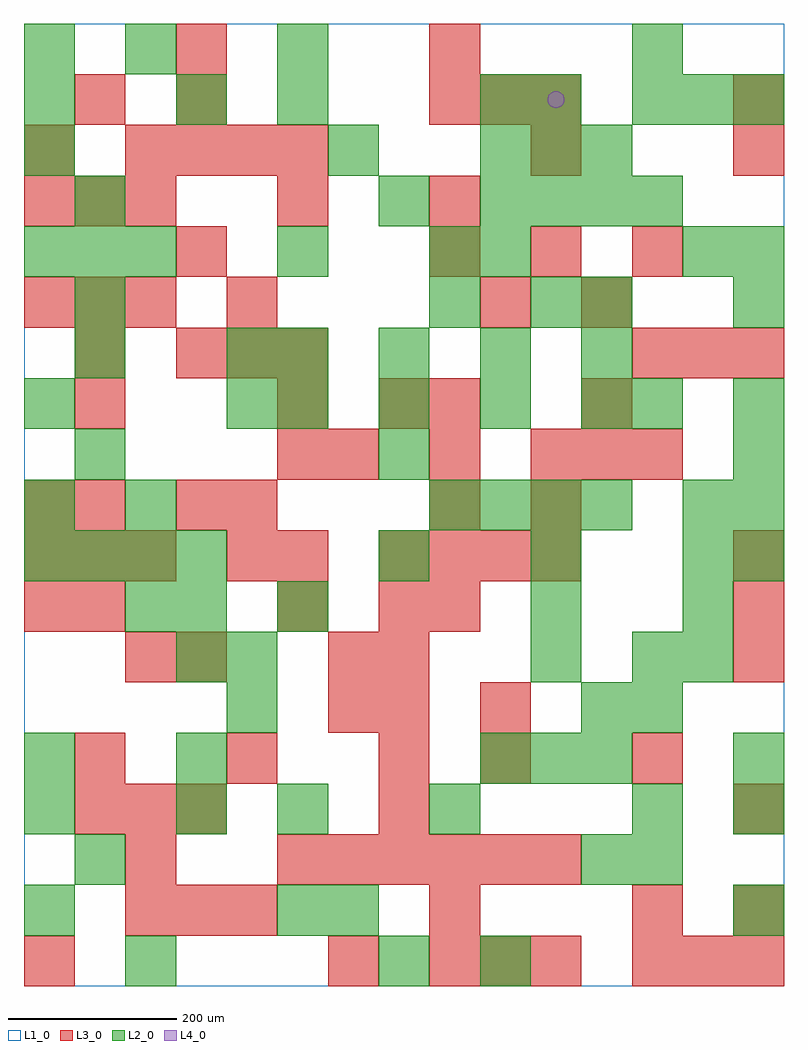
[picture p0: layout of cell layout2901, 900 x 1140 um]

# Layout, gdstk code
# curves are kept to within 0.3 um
import gdstk
lib = gdstk.Library(unit=1e-6, precision=1e-09)
def R(c, l, rs):  # rectangles x0, y0, x1, y1
    for r in rs: c.add(gdstk.rectangle(r[:2], r[2:], *l))
def A(c, l, x, y, w, h, nx, ny, dx, dy):  # array of equal rectangles
    R(c, l, [(x+i*dx, y+j*dy, x+i*dx+w, y+j*dy+h) for i in range(nx) for j in range(ny)])
def P(c, l, *ps):  # polygons
    for p in ps: c.add(gdstk.Polygon(p, *l))
L1_0 = (1, 0)
L2_0 = (2, 0)
L3_0 = (3, 0)
L4_0 = (4, 0)

layout2901 = lib.new_cell('layout2901')
R(layout2901, L1_0, [(0,0,900,1140)])
A(layout2901, L2_0, 540, 240, 60, 60, 3, 2, 60, 720)
A(layout2901, L2_0, 0, 480, 60, 60, 4, 1, 60, 0)
A(layout2901, L2_0, 420, 480, 60, 60, 3, 1, 180, 0)
A(layout2901, L2_0, 840, 480, 60, 60, 1, 4, 0, 60)
A(layout2901, L2_0, 480, 540, 60, 60, 4, 1, 60, 0)
A(layout2901, L2_0, 300, 660, 60, 60, 4, 2, 120, 60)
A(layout2901, L2_0, 0, 840, 60, 60, 3, 1, 60, 0)
A(layout2901, L2_0, 540, 900, 60, 60, 4, 1, 60, 0)
A(layout2901, L2_0, 0, 960, 60, 60, 1, 3, 0, 60)
A(layout2901, L2_0, 720, 1020, 60, 60, 3, 1, 60, 0)
R(layout2901, L2_0, [(120,0,180,60), (420,0,480,60), (540,0,600,60), (0,60,60,120), (300,60,360,120), (360,60,420,120), (840,60,900,120), (60,120,120,180), (660,120,720,180), (720,120,780,180), (0,180,60,240), (180,180,240,240), (300,180,360,240), (480,180,540,240), (720,180,780,240), (840,180,900,240), (0,240,60,300), (180,240,240,300), (840,240,900,300), (240,300,300,360), (660,300,720,360), (720,300,780,360), (180,360,240,420), (240,360,300,420), (600,360,660,420), (720,360,780,420), (780,360,840,420), (120,420,180,480), (180,420,240,480), (300,420,360,480), (600,420,660,480), (780,420,840,480), (0,540,60,600), (120,540,180,600), (780,540,840,600), (60,600,120,660), (420,600,480,660), (0,660,60,720), (240,660,300,720), (720,660,780,720), (60,720,120,780), (240,720,300,780), (60,780,120,840), (480,780,540,840), (600,780,660,840), (660,780,720,840), (840,780,900,840), (300,840,360,900), (480,840,540,900), (540,840,600,900), (780,840,840,900), (840,840,900,900), (60,900,120,960), (420,900,480,960), (360,960,420,1020), (180,1020,240,1080), (300,1020,360,1080), (540,1020,600,1080), (600,1020,660,1080), (120,1080,180,1140), (300,1080,360,1140), (720,1080,780,1140)])
A(layout2901, L3_0, 480, 0, 60, 60, 3, 2, 60, 1020)
A(layout2901, L3_0, 720, 0, 60, 60, 3, 2, 60, 720)
A(layout2901, L3_0, 120, 60, 60, 60, 3, 1, 60, 0)
A(layout2901, L3_0, 300, 120, 60, 60, 6, 1, 60, 0)
A(layout2901, L3_0, 60, 180, 60, 60, 3, 1, 60, 0)
A(layout2901, L3_0, 60, 240, 60, 60, 3, 1, 180, 0)
A(layout2901, L3_0, 420, 300, 60, 60, 1, 3, 0, 60)
A(layout2901, L3_0, 840, 360, 60, 60, 1, 3, 0, 60)
A(layout2901, L3_0, 60, 420, 60, 60, 1, 3, 0, 120)
A(layout2901, L3_0, 480, 420, 60, 60, 1, 3, 0, 120)
A(layout2901, L3_0, 0, 480, 60, 60, 3, 2, 60, 300)
A(layout2901, L3_0, 420, 480, 60, 60, 4, 1, 60, 0)
A(layout2901, L3_0, 360, 600, 60, 60, 3, 1, 120, 0)
A(layout2901, L3_0, 180, 720, 60, 60, 3, 1, 60, 0)
A(layout2901, L3_0, 480, 840, 60, 60, 3, 1, 120, 0)
A(layout2901, L3_0, 0, 900, 60, 60, 3, 1, 60, 0)
A(layout2901, L3_0, 120, 960, 60, 60, 4, 1, 60, 0)
R(layout2901, L3_0, [(0,0,60,60), (360,0,420,60), (480,60,540,120), (720,60,780,120), (840,60,900,120), (120,120,180,180), (420,180,480,240), (840,180,900,240), (540,240,600,300), (720,240,780,300), (360,300,420,360), (540,300,600,360), (120,360,180,420), (180,360,240,420), (360,360,420,420), (0,420,60,480), (300,420,360,480), (240,480,300,540), (300,480,360,540), (0,540,60,600), (180,540,240,600), (240,540,300,600), (600,540,660,600), (300,600,360,660), (660,600,720,660), (720,600,780,660), (300,660,360,720), (420,660,480,720), (660,660,720,720), (60,720,120,780), (240,780,300,840), (540,780,600,840), (660,780,720,840), (180,840,240,900), (300,900,360,960), (480,900,540,960), (0,960,60,1020), (600,960,660,1020), (840,960,900,1020), (60,1020,120,1080), (180,1020,240,1080), (840,1020,900,1080), (180,1080,240,1140), (480,1080,540,1140)])
P(layout2901, L4_0, [(640,1050),(639.239,1053.827),(637.071,1057.071),(633.827,1059.239),(630,1060),(626.173,1059.239),(622.929,1057.071),(620.761,1053.827),(620,1050),(620.761,1046.173),(622.929,1042.929),(626.173,1040.761),(630,1040),(633.827,1040.761),(637.071,1042.929),(639.239,1046.173)])

lib.write_gds('layout2901.gds')
